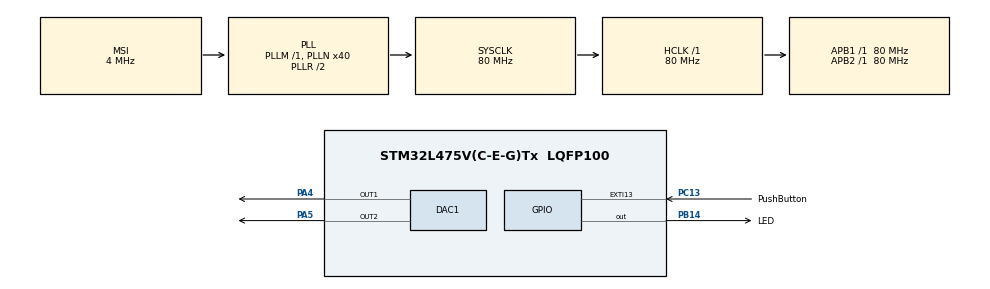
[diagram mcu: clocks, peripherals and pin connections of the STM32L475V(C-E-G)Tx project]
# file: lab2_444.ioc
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ADC1.Channel-0\#ChannelRegularConversion=ADC_CHANNEL_VREFINT
ADC1.NbrOfConversionFlag=1
ADC1.OffsetNumber-0\#ChannelRegularConversion=ADC_OFFSET_NONE
ADC1.Rank-0\#ChannelRegularConversion=1
ADC1.SamplingTime-0\#ChannelRegularConversion=ADC_SAMPLETIME_640CYCLES_5
ADC1.master=1
ADC3.Channel-0\#ChannelRegularConversion=ADC_CHANNEL_TEMPSENSOR
ADC3.NbrOfConversionFlag=1
ADC3.OffsetNumber-0\#ChannelRegularConversion=ADC_OFFSET_NONE
ADC3.Rank-0\#ChannelRegularConversion=1
ADC3.SamplingTime-0\#ChannelRegularConversion=ADC_SAMPLETIME_640CYCLES_5
DAC1.DAC_Channel-DAC_OUT2=DAC_CHANNEL_2
Mcu.Family=STM32L4
Mcu.Name=STM32L475V(C-E-G)Tx
Mcu.Package=LQFP100
NVIC.PriorityGroup=NVIC_PRIORITYGROUP_4
PA13\ (JTMS-SWDIO).Signal=SYS_JTMS-SWDIO
PA4.Signal=COMP_DAC11_group
PA5.Signal=COMP_DAC12_group
PB14.GPIO_Label=LED
PB14.Signal=GPIO_Output
PB3\ (JTDO-TRACESWO).Signal=SYS_JTDO-SWO
PC13.GPIO_Label=PushButton
PC13.Signal=GPXTI13
ProjectManager.HeapSize=0x200
ProjectManager.StackSize=0x400
ProjectManager.TargetToolchain=STM32CubeIDE
RCC.ADCFreq_Value=48000000
RCC.AHBFreq_Value=80000000
RCC.APB1Freq_Value=80000000
RCC.APB1TimFreq_Value=80000000
RCC.APB2Freq_Value=80000000
RCC.APB2TimFreq_Value=80000000
RCC.CortexFreq_Value=80000000
RCC.HCLKFreq_Value=80000000
RCC.HSE_VALUE=8000000
RCC.HSI_VALUE=16000000
RCC.LSE_VALUE=32768
RCC.MSI_VALUE=4000000
RCC.PLLN=40
RCC.PLLSAI1N=24
RCC.SYSCLKFreq_VALUE=80000000
RCC.SYSCLKSource=RCC_SYSCLKSOURCE_PLLCLK
RCC.USBFreq_Value=48000000
RCC.VCOOutputFreq_Value=160000000
SH.COMP_DAC11_group.0=DAC1_OUT1,DAC_OUT1
SH.COMP_DAC12_group.0=DAC1_OUT2,DAC_OUT2
VP_ADC1_Vref_Input.Mode=IN-Vrefint
VP_ADC3_TempSens_Input.Mode=IN-TempSens
board=B-L475E-IOT01A1

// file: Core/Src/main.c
/* USER CODE BEGIN Header */
/**
  ******************************************************************************
  * @file           : main.c
  * @brief          : Main program body
  ******************************************************************************
  * @attention
  *
  * Copyright (c) 2023 STMicroelectronics.
  * All rights reserved.
  *
  * This software is licensed under terms that can be found in the LICENSE file
  * in the root directory of this software component.
  * If no LICENSE file comes with this software, it is provided AS-IS.
  *
  ******************************************************************************
  */
/* USER CODE END Header */
#include "main.h"

ADC_HandleTypeDef hadc1;
ADC_HandleTypeDef hadc3;

DAC_HandleTypeDef hdac1;

void SystemClock_Config(void);
void PeriphCommonClock_Config(void);
static void MX_GPIO_Init(void);
static void MX_DAC1_Init(void);
static void MX_ADC1_Init(void);
static void MX_ADC3_Init(void);

int main(void)
{

  /* MCU Configuration--------------------------------------------------------*/

  /* Reset of all peripherals, Initializes the Flash interface and the Systick. */
  HAL_Init();

  /* Configure the system clock */
  SystemClock_Config();

/* Configure the peripherals common clocks */
  PeriphCommonClock_Config();

  /* Initialize all configured peripherals */
  MX_GPIO_Init();
  MX_DAC1_Init();
  MX_ADC1_Init();
  MX_ADC3_Init();
  /* USER CODE BEGIN 2 */
  HAL_DAC_Start(&hdac1, DAC_CHANNEL_1);
  HAL_DAC_Start(&hdac1, DAC_CHANNEL_2);

  /* USER CODE END 2 */

  /* Infinite loop */
  /* USER CODE BEGIN WHILE */
  uint32_t j =0;

  uint32_t saw[16];
  uint32_t sawG;

  uint32_t triangle[16];
  uint32_t triangleG;

  uint32_t sine;
  float pi=3.14;
  float tempCelsius;
  uint32_t sineWave[16];

  //part 4
  uint32_t a =0;
  //uint32_t waveformValue;
  uint32_t z = 0;
  GPIO_PinState lastButtonState = GPIO_PIN_SET; // Initialize to released state
 uint32_t button_counter =0;
 uint32_t iteration;

  for(uint32_t i =0; i<16; i++){
	  saw[i]= i*256; //4095/16
	  if (i < 8)
	  		  triangle[i] = i * 512; //4095/(16/2)
	  	  else if (i == 8)
	  		  // normally would be 256, but want it to be 8 bit
	  		  triangle[i] = 4095; //peak
	  	  else
	  		  triangle[i] = 4096 - ((i % 8) * 512);
	  sineWave[i] = (uint32_t) roundf(2047.0 * (1.0 + arm_sin_f32(pi * i / 8)));
  }

  while (1)
  {
    /* USER CODE END WHILE */

    /* USER CODE BEGIN 3 */
	  //part 1 start
	  	  //active low configuration-->button press connect to ground, logic zero
	  	  //when the button is not pressed --> pulled high through resistor, logic 1
	  	  //read state of pushbutton

	  	  GPIO_PinState button = HAL_GPIO_ReadPin(PushButton_GPIO_Port,PushButton_Pin);
	  	  //if button is pressed (set the port pins)
	  	  if(button == GPIO_PIN_RESET)
	  		  HAL_GPIO_WritePin(LED_GPIO_Port, LED_Pin, GPIO_PIN_SET);
	  	 //if not pressed (reset clear the port pins)
	  	  else
	  		  HAL_GPIO_WritePin(LED_GPIO_Port, LED_Pin, GPIO_PIN_RESET);
	  	  HAL_Delay(5);
	  	 //part 1 end

	  	  part 2 start
	  	  sawG = saw[j];
	  	  HAL_DAC_SetValue(&hdac1, DAC_CHANNEL_1, DAC_ALIGN_12B_R, sawG);

	  	  triangleG = triangle[j];
	      HAL_DAC_SetValue(&hdac1, DAC_CHANNEL_1, DAC_ALIGN_12B_R, triangleG);

	      sine = sineWave[j];
	      HAL_DAC_SetValue(&hdac1, DAC_CHANNEL_1, DAC_ALIGN_12B_R, sine);
	  	  j = (j+1)%16;

	  	for (volatile uint32_t k = 0; k < 400; k++)
	  	    {
	  	        // This loop consumes CPU cycles and creates a delay

	  	    }
	  	part 2 end
	  	//part 3 start
	  	//polling stp: start-->polling-->getvalue
	  	float VREF;
	  	uint16_t V_Measured;
	  	uint16_t tempVoltage;

	  	//HAL_ADC_PollForConversion:ensure ADC conversion is completed, 10000S TIME OUT
	  	//HAL_ADC_GetValue: get the vale at hadc 1
	  	HAL_ADC_Start(&hadc1);

	  	if(HAL_ADC_PollForConversion(&hadc1, 10000) == HAL_OK) {
	  			V_Measured = HAL_ADC_GetValue(&hadc1);
	  			HAL_ADC_Stop(&hadc1);
	  			uint16_t VREFINT_CAL =  *((uint16_t*) (0x1FFF75AA));
	  			VREF = 3000 * (float) VREFINT_CAL / ((float) V_Measured);
	  	}

	  	// get tempVoltage
	  	// calculate temp in Celsious based on tempVoltage and VREF and calibrated values
	  	HAL_ADC_Start(&hadc3);
	  	if(HAL_ADC_PollForConversion(&hadc3, 10000) == HAL_OK) {
	  			tempVoltage = HAL_ADC_GetValue(&hadc3);
	  			HAL_ADC_Stop(&hadc3);
	  			uint16_t castedTempVoltage = (uint16_t) tempVoltage;

	  			uint16_t TS_CAL2 = *((uint16_t*) (0x1FFF75CA));
	  			uint16_t TS_CAL1 = *((uint16_t*) (0x1FFF75A8));

	  			int16_t TS_DATA= castedTempVoltage*VREF/3000;
	  			int16_t diff = TS_DATA - TS_CAL1;

	  			uint16_t cal_temp_difference = 110 - 30;
	  			uint16_t cal_difference = TS_CAL2 - TS_CAL1;

	  			// in here, we are also scaling the TS_CAL2/1 according to VREF
	  		    tempCelsius = ((((float) cal_temp_difference) / ((float) cal_difference))*diff)+30;

	  			HAL_DAC_SetValue(&hdac1, DAC_CHANNEL_1, DAC_ALIGN_12B_R, (uint32_t)tempCelsius);
	  			HAL_Delay(1);

	  				}
	  	//part 3 end

	  	//part 4 start

	  GPIO_PinState button = HAL_GPIO_ReadPin(PushButton_GPIO_Port, PushButton_Pin);

	      if (button == GPIO_PIN_RESET && lastButtonState == GPIO_PIN_SET) {
	          // Button was pressed
	          button_counter++;
	          if (button_counter > 6) {
	              button_counter = 1;
	          }
	      }

	      lastButtonState = button;

	      if (button_counter == 0) {
	          // Default saw waveform
	          sawG = saw[a];
	          HAL_DAC_SetValue(&hdac1, DAC_CHANNEL_1, DAC_ALIGN_12B_R, sawG);
	          a = (a + 1) % 16;
	          for (volatile uint32_t k = 0; k < 400; k++) {
	          	    	          // This loop consumes CPU cycles and creates a delay
	          	  }
	      } else {

	          if (button_counter == 1 || button_counter == 3 || button_counter == 5) {
	              // Temperature-related operations...
	        	  HAL_GPIO_WritePin(LED_GPIO_Port, LED_Pin, GPIO_PIN_SET);
//	        	  while (button == GPIO_PIN_SET) {
//	        	   // Wait for the button to be released
//	        		  button = HAL_GPIO_ReadPin(PushButton_GPIO_Port, PushButton_Pin);
//
//	        	  }
	        	  sawG = saw[z];
	        	  HAL_DAC_SetValue(&hdac1, DAC_CHANNEL_1, DAC_ALIGN_12B_R, sawG);
	        	  z = (z + 1) % 16;
	        	  	  	//polling stp: start-->polling-->getvalue
	        	  	  	float VREF;
	        	  	  	uint16_t V_Measured;
	        	  	  	uint16_t tempVoltage;

	        	  	  	//HAL_ADC_PollForConversion:ensure ADC conversion is completed, 10000S TIME OUT
	        	  	  	//HAL_ADC_GetValue: get the vale at hadc 1
	        	  	  	HAL_ADC_Start(&hadc1);

	        	  	  	if(HAL_ADC_PollForConversion(&hadc1, 10000) == HAL_OK) {
	        	  	  			V_Measured = HAL_ADC_GetValue(&hadc1);
	        	  	  			HAL_ADC_Stop(&hadc1);
	        	  	  			uint16_t VREFINT_CAL =  *((uint16_t*) (0x1FFF75AA));
	        	  	  			VREF = 3000 * (float) VREFINT_CAL / ((float) V_Measured);
	        	  	  	}

	        	  	  	// get tempVoltage
	        	  	  	// calculate temp in Celsious based on tempVoltage and VREF and calibrated values
	        	  	  	HAL_ADC_Start(&hadc3);
	        	  	  	if(HAL_ADC_PollForConversion(&hadc3, 10000) == HAL_OK) {
	        	  	  			tempVoltage = HAL_ADC_GetValue(&hadc3);
	        	  	  			HAL_ADC_Stop(&hadc3);
	        	  	  			uint16_t castedTempVoltage = (uint16_t) tempVoltage;

	        	  	  			uint16_t TS_CAL2 = *((uint16_t*) (0x1FFF75CA));
	        	  	  			uint16_t TS_CAL1 = *((uint16_t*) (0x1FFF75A8));

	        	  	  			int16_t TS_DATA= castedTempVoltage*VREF/3000;
	        	  	  			int16_t diff = TS_DATA - TS_CAL1;

	        	  	  			uint16_t cal_temp_difference = 110 - 30;
	        	  	  			uint16_t cal_difference = TS_CAL2 - TS_CAL1;

	        	  	  			// in here, we are also scaling the TS_CAL2/1 according to VREF
	        	  	  		    tempCelsius = ((((float) cal_temp_difference) / ((float) cal_difference))*diff)+30;

	        	  	  		    iteration = roundf(tempCelsius*(100)-1700);
	        	  	  			HAL_ADC_Stop(&hadc3);
	        	  	  			HAL_ADC_Stop(&hadc1);

	        	  	  				}
	        	  for (volatile uint32_t k = 0; k < iteration; k++) {
	        	  	    	          // This loop consumes CPU cycles and creates a delay
	        	  }

	          } else if (button_counter == 2) {
	        	  HAL_GPIO_WritePin(LED_GPIO_Port, LED_Pin, GPIO_PIN_RESET);
	              // Triangle waveform
	              triangleG = triangle[z];
	              HAL_DAC_SetValue(&hdac1, DAC_CHANNEL_1, DAC_ALIGN_12B_R, triangleG);
	              z = (z + 1) % 16;
	    	      // Delay for a short period
	    	      for (volatile uint32_t k = 0; k < 400; k++) {
	    	          // This loop consumes CPU cycles and creates a delay
	    	      }
	          } else if (button_counter == 4) {
	        	  HAL_GPIO_WritePin(LED_GPIO_Port, LED_Pin, GPIO_PIN_RESET);
	              // Saw waveform
	              sawG = saw[z];
	              HAL_DAC_SetValue(&hdac1, DAC_CHANNEL_1, DAC_ALIGN_12B_R, sawG);
	              z = (z + 1) % 16;
	    	      // Delay for a short period
	    	      for (volatile uint32_t k = 0; k < 400; k++) {
	    	          // This loop consumes CPU cycles and creates a delay
	    	      }
	          } else if (button_counter == 6) {
	        	  HAL_GPIO_WritePin(LED_GPIO_Port, LED_Pin, GPIO_PIN_RESET);
	              // Sine waveform
	              sine = sineWave[z];
	              HAL_DAC_SetValue(&hdac1, DAC_CHANNEL_1, DAC_ALIGN_12B_R, sine);
	              z = (z + 1) % 16;
	    	      // Delay for a short period
	    	      for (volatile uint32_t k = 0; k < 400; k++) {
	    	          // This loop consumes CPU cycles and creates a delay
	    	      }
	          }
	      }

	  	// part 4 end

	  	  }

  /* USER CODE END 3 */
}

void SystemClock_Config(void)
{
  RCC_OscInitTypeDef RCC_OscInitStruct = {0};
  RCC_ClkInitTypeDef RCC_ClkInitStruct = {0};

  /** Configure the main internal regulator output voltage
  */
  if (HAL_PWREx_ControlVoltageScaling(PWR_REGULATOR_VOLTAGE_SCALE1) != HAL_OK)
  {
    Error_Handler();
  }

  /** Initializes the RCC Oscillators according to the specified parameters
  * in the RCC_OscInitTypeDef structure.
  */
  RCC_OscInitStruct.OscillatorType = RCC_OSCILLATORTYPE_MSI;
  RCC_OscInitStruct.MSIState = RCC_MSI_ON;
  RCC_OscInitStruct.MSICalibrationValue = 0;
  RCC_OscInitStruct.MSIClockRange = RCC_MSIRANGE_6;
  RCC_OscInitStruct.PLL.PLLState = RCC_PLL_ON;
  RCC_OscInitStruct.PLL.PLLSource = RCC_PLLSOURCE_MSI;
  RCC_OscInitStruct.PLL.PLLM = 1;
  RCC_OscInitStruct.PLL.PLLN = 40;
  RCC_OscInitStruct.PLL.PLLP = RCC_PLLP_DIV7;
  RCC_OscInitStruct.PLL.PLLQ = RCC_PLLQ_DIV2;
  RCC_OscInitStruct.PLL.PLLR = RCC_PLLR_DIV2;
  if (HAL_RCC_OscConfig(&RCC_OscInitStruct) != HAL_OK)
  {
    Error_Handler();
  }

  /** Initializes the CPU, AHB and APB buses clocks
  */
  RCC_ClkInitStruct.ClockType = RCC_CLOCKTYPE_HCLK|RCC_CLOCKTYPE_SYSCLK
                              |RCC_CLOCKTYPE_PCLK1|RCC_CLOCKTYPE_PCLK2;
  RCC_ClkInitStruct.SYSCLKSource = RCC_SYSCLKSOURCE_PLLCLK;
  RCC_ClkInitStruct.AHBCLKDivider = RCC_SYSCLK_DIV1;
  RCC_ClkInitStruct.APB1CLKDivider = RCC_HCLK_DIV1;
  RCC_ClkInitStruct.APB2CLKDivider = RCC_HCLK_DIV1;

  if (HAL_RCC_ClockConfig(&RCC_ClkInitStruct, FLASH_LATENCY_4) != HAL_OK)
  {
    Error_Handler();
  }
}

void PeriphCommonClock_Config(void)
{
  RCC_PeriphCLKInitTypeDef PeriphClkInit = {0};

  /** Initializes the peripherals clock
  */
  PeriphClkInit.PeriphClockSelection = RCC_PERIPHCLK_ADC;
  PeriphClkInit.AdcClockSelection = RCC_ADCCLKSOURCE_PLLSAI1;
  PeriphClkInit.PLLSAI1.PLLSAI1Source = RCC_PLLSOURCE_MSI;
  PeriphClkInit.PLLSAI1.PLLSAI1M = 1;
  PeriphClkInit.PLLSAI1.PLLSAI1N = 24;
  PeriphClkInit.PLLSAI1.PLLSAI1P = RCC_PLLP_DIV7;
  PeriphClkInit.PLLSAI1.PLLSAI1Q = RCC_PLLQ_DIV2;
  PeriphClkInit.PLLSAI1.PLLSAI1R = RCC_PLLR_DIV2;
  PeriphClkInit.PLLSAI1.PLLSAI1ClockOut = RCC_PLLSAI1_ADC1CLK;
  if (HAL_RCCEx_PeriphCLKConfig(&PeriphClkInit) != HAL_OK)
  {
    Error_Handler();
  }
}

static void MX_ADC1_Init(void)
{

  ADC_MultiModeTypeDef multimode = {0};
  ADC_ChannelConfTypeDef sConfig = {0};

  /** Common config
  */
  hadc1.Instance = ADC1;
  hadc1.Init.ClockPrescaler = ADC_CLOCK_ASYNC_DIV1;
  hadc1.Init.Resolution = ADC_RESOLUTION_12B;
  hadc1.Init.DataAlign = ADC_DATAALIGN_RIGHT;
  hadc1.Init.ScanConvMode = ADC_SCAN_DISABLE;
  hadc1.Init.EOCSelection = ADC_EOC_SINGLE_CONV;
  hadc1.Init.LowPowerAutoWait = DISABLE;
  hadc1.Init.ContinuousConvMode = DISABLE;
  hadc1.Init.NbrOfConversion = 1;
  hadc1.Init.DiscontinuousConvMode = DISABLE;
  hadc1.Init.ExternalTrigConv = ADC_SOFTWARE_START;
  hadc1.Init.ExternalTrigConvEdge = ADC_EXTERNALTRIGCONVEDGE_NONE;
  hadc1.Init.DMAContinuousRequests = DISABLE;
  hadc1.Init.Overrun = ADC_OVR_DATA_PRESERVED;
  hadc1.Init.OversamplingMode = DISABLE;
  if (HAL_ADC_Init(&hadc1) != HAL_OK)
  {
    Error_Handler();
  }

  /** Configure the ADC multi-mode
  */
  multimode.Mode = ADC_MODE_INDEPENDENT;
  if (HAL_ADCEx_MultiModeConfigChannel(&hadc1, &multimode) != HAL_OK)
  {
    Error_Handler();
  }

  /** Configure Regular Channel
  */
  sConfig.Channel = ADC_CHANNEL_VREFINT;
  sConfig.Rank = ADC_REGULAR_RANK_1;
  sConfig.SamplingTime = ADC_SAMPLETIME_640CYCLES_5;
  sConfig.SingleDiff = ADC_SINGLE_ENDED;
  sConfig.OffsetNumber = ADC_OFFSET_NONE;
  sConfig.Offset = 0;
  if (HAL_ADC_ConfigChannel(&hadc1, &sConfig) != HAL_OK)
  {
    Error_Handler();
  }

}

static void MX_ADC3_Init(void)
{

  ADC_ChannelConfTypeDef sConfig = {0};

  /** Common config
  */
  hadc3.Instance = ADC3;
  hadc3.Init.ClockPrescaler = ADC_CLOCK_ASYNC_DIV1;
  hadc3.Init.Resolution = ADC_RESOLUTION_12B;
  hadc3.Init.DataAlign = ADC_DATAALIGN_RIGHT;
  hadc3.Init.ScanConvMode = ADC_SCAN_DISABLE;
  hadc3.Init.EOCSelection = ADC_EOC_SINGLE_CONV;
  hadc3.Init.LowPowerAutoWait = DISABLE;
  hadc3.Init.ContinuousConvMode = DISABLE;
  hadc3.Init.NbrOfConversion = 1;
  hadc3.Init.DiscontinuousConvMode = DISABLE;
  hadc3.Init.ExternalTrigConv = ADC_SOFTWARE_START;
  hadc3.Init.ExternalTrigConvEdge = ADC_EXTERNALTRIGCONVEDGE_NONE;
  hadc3.Init.DMAContinuousRequests = DISABLE;
  hadc3.Init.Overrun = ADC_OVR_DATA_PRESERVED;
  hadc3.Init.OversamplingMode = DISABLE;
  if (HAL_ADC_Init(&hadc3) != HAL_OK)
  {
    Error_Handler();
  }

  /** Configure Regular Channel
  */
  sConfig.Channel = ADC_CHANNEL_TEMPSENSOR;
  sConfig.Rank = ADC_REGULAR_RANK_1;
  sConfig.SamplingTime = ADC_SAMPLETIME_640CYCLES_5;
  sConfig.SingleDiff = ADC_SINGLE_ENDED;
  sConfig.OffsetNumber = ADC_OFFSET_NONE;
  sConfig.Offset = 0;
  if (HAL_ADC_ConfigChannel(&hadc3, &sConfig) != HAL_OK)
  {
    Error_Handler();
  }

}

static void MX_DAC1_Init(void)
{

  DAC_ChannelConfTypeDef sConfig = {0};

  /** DAC Initialization
  */
  hdac1.Instance = DAC1;
  if (HAL_DAC_Init(&hdac1) != HAL_OK)
  {
    Error_Handler();
  }

  /** DAC channel OUT1 config
  */
  sConfig.DAC_SampleAndHold = DAC_SAMPLEANDHOLD_DISABLE;
  sConfig.DAC_Trigger = DAC_TRIGGER_NONE;
  sConfig.DAC_OutputBuffer = DAC_OUTPUTBUFFER_ENABLE;
  sConfig.DAC_ConnectOnChipPeripheral = DAC_CHIPCONNECT_DISABLE;
  sConfig.DAC_UserTrimming = DAC_TRIMMING_FACTORY;
  if (HAL_DAC_ConfigChannel(&hdac1, &sConfig, DAC_CHANNEL_1) != HAL_OK)
  {
    Error_Handler();
  }

  /** DAC channel OUT2 config
  */
  if (HAL_DAC_ConfigChannel(&hdac1, &sConfig, DAC_CHANNEL_2) != HAL_OK)
  {
    Error_Handler();
  }

}

static void MX_GPIO_Init(void)
{
  GPIO_InitTypeDef GPIO_InitStruct = {0};

  /* GPIO Ports Clock Enable */
  __HAL_RCC_GPIOC_CLK_ENABLE();
  __HAL_RCC_GPIOA_CLK_ENABLE();
  __HAL_RCC_GPIOB_CLK_ENABLE();

  /*Configure GPIO pin Output Level */
  HAL_GPIO_WritePin(LED_GPIO_Port, LED_Pin, GPIO_PIN_RESET);

  /*Configure GPIO pin : PushButton_Pin */
  GPIO_InitStruct.Pin = PushButton_Pin;
  GPIO_InitStruct.Mode = GPIO_MODE_IT_RISING;
  GPIO_InitStruct.Pull = GPIO_NOPULL;
  HAL_GPIO_Init(PushButton_GPIO_Port, &GPIO_InitStruct);

  /*Configure GPIO pin : LED_Pin */
  GPIO_InitStruct.Pin = LED_Pin;
  GPIO_InitStruct.Mode = GPIO_MODE_OUTPUT_PP;
  GPIO_InitStruct.Pull = GPIO_NOPULL;
  GPIO_InitStruct.Speed = GPIO_SPEED_FREQ_LOW;
  HAL_GPIO_Init(LED_GPIO_Port, &GPIO_InitStruct);

}

void Error_Handler(void)
{
  __disable_irq();
  while (1)
  {
  }
}
